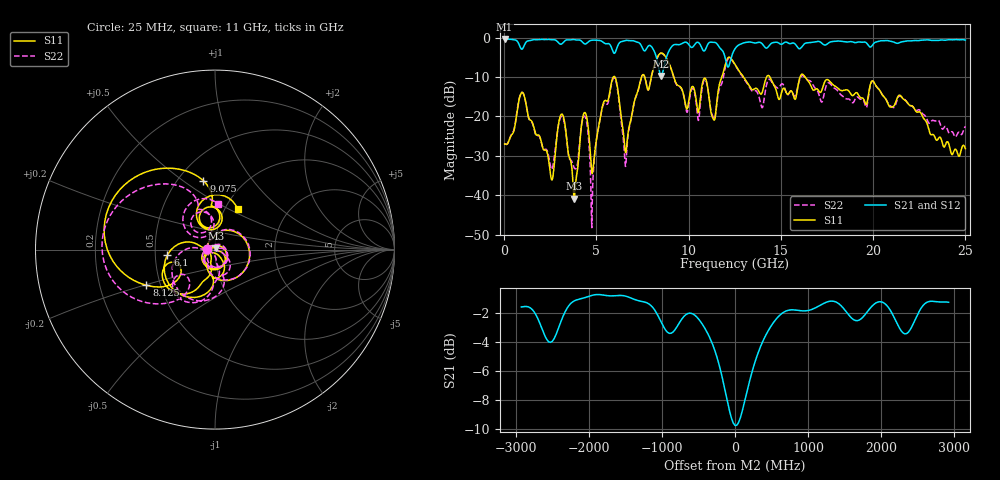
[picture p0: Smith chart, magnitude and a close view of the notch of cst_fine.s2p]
! RG_s4_pwr_n4_cap2: Finite board 24 × 16 mm, via L1 → L4 through the GND/PWR pair L2/L3, four GND vias at 1 mm joined to L2 only (openings in the PWR plane L3), a capacitor between L2 and L3 2 mm away
! stackup: 4-layer 1.6 mm FR-4
! ports: 1 L1, 2 L4
! CST Studio Suite 2025.5 Release from 2025-05-30, time domain (FIT, hexahedral, PBA), 738480 mesh cells, 223 s
! mesh: {'lpw': 30.0, 'lpb': 30.0, 'minstep': 0.0, 'ratio': 20}; ports: port 1 (face); port 2 (face)
! interpolated from CST's 1001 samples to the case grid
# Hz S RI R 50
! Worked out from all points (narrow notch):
!   1000 points, 25 MHz to 25 GHz, reference 50 ohm
!   highest |S21| = -0.39 dB at 25 MHz (marker M1); lowest = -9.7 dB at 8.5 GHz (marker M2)
!   notch at M2: 8.5 dB deep, 490 MHz wide at half that depth
!   lowest |S11| = -40.8 dB at 3.8 GHz (marker M3), VSWR 1.02, Z = 50.5 + j0.761 ohm
!   |S11| at or under -10 dB: start of sweep to 5.916 GHz; 9.196 GHz to 11.8 GHz (2.602 GHz wide, 24.8 % of centre); 16.31 GHz to end of sweep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
!   |S22| runs from -48.2 to -4.0 dB; largest |S21 - S12| = 8.2e-07
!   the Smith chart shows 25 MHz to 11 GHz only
!   S11 on the Smith chart (normalised r, x): 25 MHz: 0.91, +0.01; 6.1 GHz: 0.58, -0.04; 8.125 GHz: 0.42, -0.20; 9.075 GHz: 0.66, +0.60; 11 GHz: 1.15, +0.55
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2.5e7  -0.0447 0.00317  0.956 -0.0127  0.956 -0.0127  -0.045 0.00336
1e9  0.1523 -0.1303  0.6805 -0.2381  0.6805 -0.2381  0.1589 -0.1237
2.575e9  -0.00564 0.0146  0.4622 -0.8161  0.4622 -0.8161  -0.00673 0.0203
3.125e9  -0.0219 -0.1048  0.2895 -0.7799  0.2895 -0.7799  -0.0129 -0.0999
3.8e9  0.00508 0.00753  0.0241 -0.942  0.0241 -0.942  0.00721 0.021
4.2e9  0.0573 -0.0552  -0.1795 -0.88  -0.1795 -0.88  0.0715 -0.0328
4.775e9  -0.00434 -0.0184  -0.3189 -0.869  -0.3189 -0.869  0.00699 -0.00398
5.3e9  0.0511 -0.115  -0.5575 -0.6996  -0.5575 -0.6996  0.085 -0.0897
6.1e9  -0.2649 -0.0296  -0.4579 -0.5621  -0.4579 -0.5621  -0.2366 -0.0924
6.575e9  -0.0317 -0.0145  -0.7896 -0.4727  -0.7896 -0.4727  -0.0157 -0.0171
8.125e9  -0.3817 -0.1991  -0.6114 0.2928  -0.6114 0.2928  -0.3015 -0.302
8.35e9  -0.587 -0.031  -0.3783 0.2386  -0.3783 0.2386  -0.5456 -0.2022
8.5e9  -0.605 0.1988  -0.3186 0.0693  -0.3186 0.0693  -0.6297 0.00896
9.075e9  -0.0646 0.3835  -0.765 0.0068  -0.765 0.0068  -0.1722 0.3437
9.9e9  -0.0195 0.1222  -0.6927 0.5177  -0.6927 0.5177  -0.0455 0.1038
1.1e10  0.1257 0.2236  -0.4721 0.6307  -0.4721 0.6307  0.0167 0.2529
1.135e10  0.00661 0.0912  -0.2653 0.8282  -0.2653 0.8282  -0.0261 0.0917
1.2525e10  0.423 0.1623  -0.2073 0.6967  -0.2073 0.6967  0.3128 0.3202
1.395e10  0.1913 -0.0286  0.4924 0.6901  0.4924 0.6901  0.1314 0.0162
1.6675e10  -0.0293 -0.2276  0.8709 0.00156  0.8709 0.00156  0.045 -0.263
2.085e10  -0.1344 0.0286  -0.1248 -0.8997  -0.1248 -0.8997  -0.1331 -0.0476
2.5e10  0.00932 -0.038  -0.899 0.2366  -0.899 0.2366  -0.0697 -0.0271
